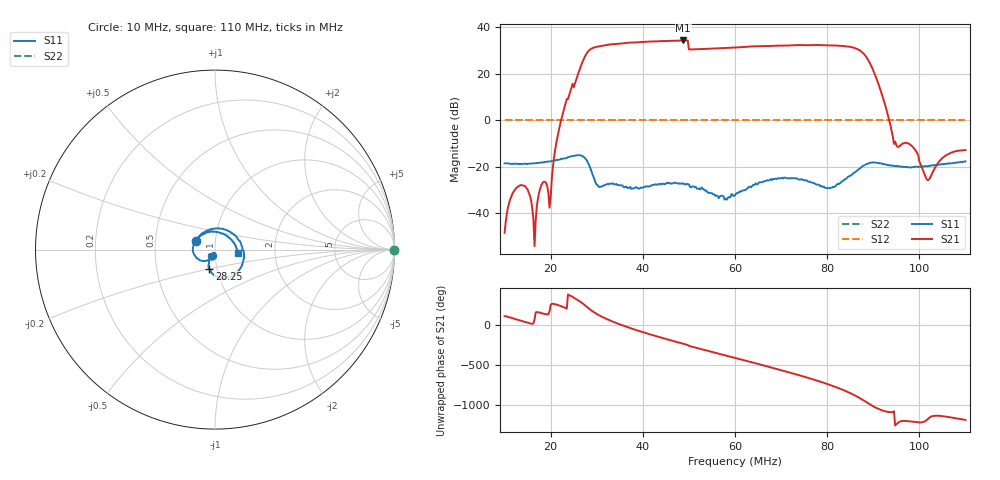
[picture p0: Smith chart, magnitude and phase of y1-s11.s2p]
! Anritsu VNA Master:  Model: MS2034B/10/19/501
! SN:  1337062
! /bd0/ovro-jan-2016/y1-s11.s2p
! Existing Calibration Information:
! TYPE:  Current Settings,  Active Cal Settings
! TIME:  01/08/2016 02:17:22 PM,  01/08/2016 02:08:01 PM
! INTERNAL TEMP:  46.5 C,  46.8 C
! # POINTS:  401,  401
! START FREQ:  10.000 MHz,  10.000 MHz
! STOP FREQ:  110.000 MHz,  110.000 MHz
! SOURCE POWER:  Low,  Low
! IFBW:  100 Hz,  100 Hz
! AVG FACTOR:  1 ,  1
! REF PLANE 1:  0 mm,  0 mm
! REF PLANE 2:  0 mm,  0 mm
! CAL TYPE:  Full S11,  Full S11
! CAL METHOD:  SOLT,  SOLT
! CAL LINE TYPE:  Coax,  Coax
! DUT PORT 1:  K-Conn(M),  K-Conn(M)
! DUT PORT 2:  N-Conn(M),  N-Conn(M)
! CAL STATUS:  OK: Accuracy High,  --
# GHZ S DB R 50.0
! FREQ.GHZ  S11DB  S11A  S21DB  S21A  S12DB  S12A  S22DB  S22A
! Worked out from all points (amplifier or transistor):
!   401 points, 10 MHz to 110 MHz, reference 50 ohm
!   highest |S21| = 34.2 dB at 48.75 MHz (marker M1)
!   |S21| within 3 dB of that: 60.43 MHz to 85.52 MHz (25.09 MHz wide, 34.4 % of centre)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
!   unconditionally stable (mu >= 1): nowhere
!   at 26.5 MHz: K = 6.82, MSG = 11.5 dB, |S12| = 0.0 dB
!   at 60 MHz: K = 17.98, MSG = 15.6 dB, |S12| = 0.0 dB
!   at 110 MHz: K = 0.14, MSG = -6.4 dB, |S12| = 0.0 dB
!   S11 on the Smith chart (normalised r, x): 10 MHz: 0.80, +0.08; 28.25 MHz: 0.92, -0.20; 110 MHz: 1.30, -0.04
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0.01  -18.59 154.7  -48.40 107.5  0.00 0.0  0.00 0.0
0.02425  -15.71 -10.9  12.47 5.4  0.00 0.0  0.00 0.0
0.02675  -15.30 -63.3  24.23 -84.6  0.00 0.0  0.00 0.0
0.02825  -18.99 -106.3  29.75 -154.2  0.00 0.0  0.00 0.0
0.0295  -25.42 -113.7  31.21 153.1  0.00 0.0  0.00 0.0
0.0315  -28.21 -84.3  31.99 89.8  0.00 0.0  0.00 0.0
0.03575  -28.59 -92.4  32.96 -10.2  0.00 0.0  0.00 0.0
0.03975  -29.05 -86.7  33.52 -87.3  0.00 0.0  0.00 0.0
0.0435  -27.60 -91.7  33.88 -151.9  0.00 0.0  0.00 0.0
0.04875  -27.41 -111.9  34.19 123.6  0.00 0.0  0.00 0.0
0.0545  -31.19 -123.9  30.63 28.5  0.00 0.0  0.00 0.0
0.06  -32.19 -88.4  31.13 -53.5  0.00 0.0  0.00 0.0
0.064  -27.80 -85.2  31.66 -113.1  0.00 0.0  0.00 0.0
0.06875  -25.10 -102.1  31.90 174.0  0.00 0.0  0.00 0.0
0.07325  -24.98 -121.7  32.15 102.0  0.00 0.0  0.00 0.0
0.07675  -26.91 -136.7  32.17 42.2  0.00 0.0  0.00 0.0
0.07975  -29.13 -130.2  32.13 -13.3  0.00 0.0  0.00 0.0
0.083  -26.74 -115.1  31.86 -82.4  0.00 0.0  0.00 0.0
0.086  -22.42 -126.1  30.92 -160.7  0.00 0.0  0.00 0.0
0.08825  -19.24 -152.4  27.75 122.7  0.00 0.0  0.00 0.0
0.0935  -19.43 124.5  -0.38 -9.9  0.00 0.0  0.00 0.0
0.11  -17.70 -7.5  -12.87 -107.0  0.00 0.0  0.00 0.0
